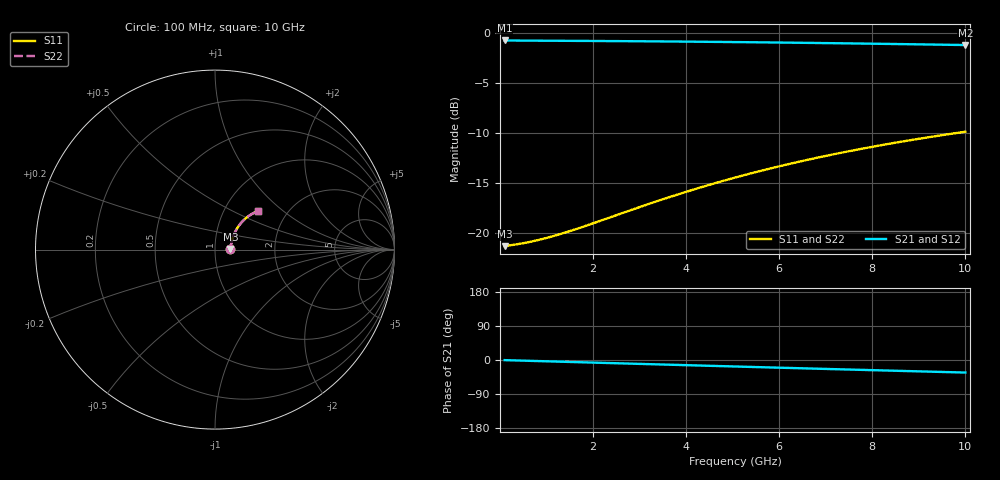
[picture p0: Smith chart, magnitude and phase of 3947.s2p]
# Hz S RI R 50.00
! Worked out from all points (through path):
!   100 points, 100 MHz to 10 GHz, reference 50 ohm
!   highest |S21| = -0.78 dB at 100 MHz (marker M1); lowest = -1.2 dB at 10 GHz (marker M2)
!   group delay of S21, straight-line fit = 9.22 ps
!   lowest |S11| = -21.3 dB at 100 MHz (marker M3), VSWR 1.19, Z = 59.4 + j0.345 ohm
!   |S11| at or under -10 dB: start of sweep to 9.856 GHz
!   |S22| runs from -21.3 to -9.9 dB; largest |S21 - S12| = 0
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1e8  0.0856 0.00289  0.9144 -0.00548  0.9144 -0.00548  0.0856 0.00289
5e8  0.0875 0.0144  0.9124 -0.0273  0.9124 -0.0273  0.0875 0.0144
7e8  0.0883 0.0201  0.9115 -0.0382  0.9115 -0.0382  0.0883 0.0201
9e8  0.0892 0.0257  0.9105 -0.0491  0.9105 -0.0491  0.0892 0.0257
1.1e9  0.0902 0.0314  0.9093 -0.0599  0.9093 -0.0599  0.0902 0.0314
1.3e9  0.0913 0.037  0.9081 -0.0707  0.9081 -0.0707  0.0913 0.037
1.8e9  0.0945 0.051  0.9043 -0.0976  0.9043 -0.0976  0.0945 0.051
2.6e9  0.1012 0.0727  0.8964 -0.1401  0.8964 -0.1401  0.1012 0.0727
3.4e9  0.1098 0.0937  0.8861 -0.1818  0.8861 -0.1818  0.1098 0.0937
3.9e9  0.1162 0.1063  0.8785 -0.2074  0.8785 -0.2074  0.1162 0.1063
4.3e9  0.1217 0.116  0.8717 -0.2275  0.8717 -0.2275  0.1217 0.116
4.7e9  0.1277 0.1255  0.8645 -0.2473  0.8645 -0.2473  0.1277 0.1255
5.1e9  0.1341 0.1346  0.8567 -0.2668  0.8567 -0.2668  0.1341 0.1346
5.5e9  0.1409 0.1433  0.8484 -0.286  0.8484 -0.286  0.1409 0.1433
5.9e9  0.1481 0.1517  0.8396 -0.3048  0.8396 -0.3048  0.1481 0.1517
6.3e9  0.1556 0.1598  0.8304 -0.3232  0.8304 -0.3232  0.1556 0.1598
6.7e9  0.1634 0.1674  0.8207 -0.3412  0.8207 -0.3412  0.1634 0.1674
7.5e9  0.18 0.1814  0.8 -0.3761  0.8 -0.3761  0.18 0.1814
7.9e9  0.1887 0.1878  0.7891 -0.3929  0.7891 -0.3929  0.1887 0.1878
8.4e9  0.1999 0.1951  0.7749 -0.4133  0.7749 -0.4133  0.1999 0.1951
9.2e9  0.2185 0.2054  0.7513 -0.4445  0.7513 -0.4445  0.2185 0.2054
1e10  0.2377 0.2139  0.7265 -0.4739  0.7265 -0.4739  0.2377 0.2139
